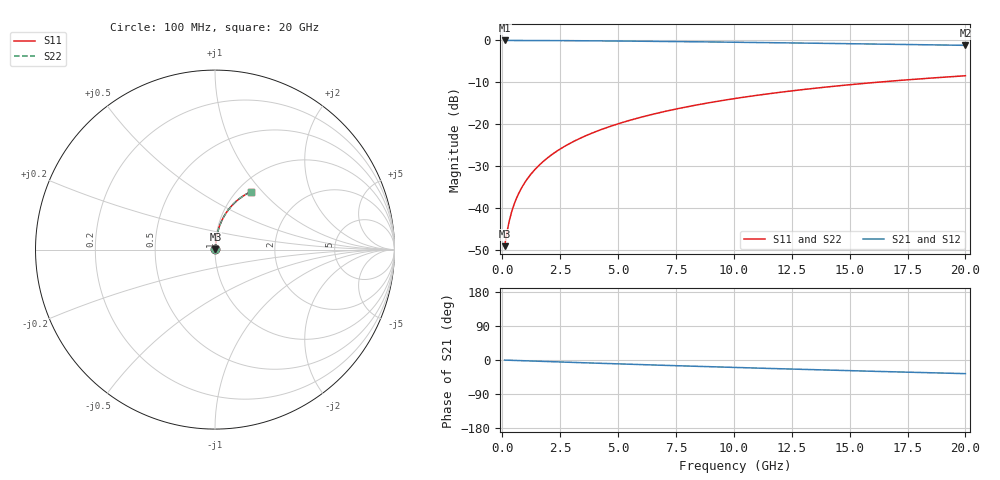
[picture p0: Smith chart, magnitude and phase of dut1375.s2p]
! Touchstone file exported from HFSS 2024.1.0
!  File:  C:/UserFiles/LocalFiles/RDL_TSV_Batchsim/temp_RDL_bottom_1375_1780371314.aedt
!  Generated:  11:37:56 AM Jun  2, 2026
!  Design:  RDL_bottom
!  Project:  temp_RDL_bottom_1375_1780371314
!  Setup:  Setup1
!  Solution:  Sweep
! Variables:
!  dtsv = 10.80580581um
!  hbump = 3um
!  htsv = 98.91um
!  ldown = 479.47um
!  lrdl = 100um
!  p = 40
!  p1 = 47.72um
!  rhole = 1um
!  t = 450um
!  tdown = 3.98um
!  trdl = 3.915915916um
!  wdown = 16.31um
!  wrdl = 20um
# GHz S MA R 50.000000
! Terminal data exported
! Port[1] = RDL1_T1
! Port[2] = RDL1_T2
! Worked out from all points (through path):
!   200 points, 100 MHz to 20 GHz, reference 50 ohm
!   highest |S21| = -0.02 dB at 100 MHz (marker M1); lowest = -1.2 dB at 20 GHz (marker M2)
!   group delay of S21, straight-line fit = 4.98 ps
!   lowest |S11| = -49.2 dB at 100 MHz (marker M3), VSWR 1.01, Z = 50.3 + j0.214 ohm
!   |S11| at or under -10 dB: start of sweep to 16.22 GHz
!   |S22| runs from -49.2 to -8.5 dB; largest |S21 - S12| = 3.6e-15
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0.1  0.003475 37.7  0.9972 -0.2  0.9972 -0.2  0.003475 37.7
! Gamma 0 0 0 0
! Port Impedance 50 0 50 0
0.2  0.005085 56.1  0.9972 -0.4  0.9972 -0.4  0.005085 56.1
0.3  0.006935 64.9  0.997 -0.6  0.997 -0.6  0.006935 64.9
0.4  0.008847 69.7  0.9969 -0.9  0.9969 -0.9  0.008847 69.7
0.5  0.01078 72.8  0.9968 -1.1  0.9968 -1.1  0.01078 72.8
0.6  0.01271 75.0  0.9967 -1.3  0.9967 -1.3  0.01271 75.0
0.8  0.01661 77.8  0.9964 -1.7  0.9964 -1.7  0.01661 77.8
1.1  0.0225 80.2  0.996 -2.3  0.996 -2.3  0.0225 80.2
1.5  0.0304 81.7  0.9953 -3.1  0.9953 -3.1  0.0304 81.7
1.8  0.03636 82.3  0.9946 -3.8  0.9946 -3.8  0.03636 82.3
2.1  0.04234 82.6  0.9939 -4.4  0.9939 -4.4  0.04234 82.6
2.7  0.05434 82.8  0.9921 -5.6  0.9921 -5.6  0.05434 82.8
3.5  0.0704 82.5  0.9892 -7.2  0.9892 -7.2  0.07039 82.5
4.2  0.08449 81.9  0.9862 -8.7  0.9862 -8.7  0.08449 81.9
5  0.1006 81.1  0.9822 -10.2  0.9822 -10.2  0.1006 81.1
5.9  0.1188 80.0  0.9773 -12.0  0.9773 -12.0  0.1188 80.0
6.8  0.137 78.9  0.9719 -13.7  0.9719 -13.7  0.137 78.9
8.4  0.1692 76.6  0.9615 -16.7  0.9615 -16.7  0.1692 76.6
10.1  0.2029 74.0  0.9496 -19.8  0.9496 -19.8  0.2029 74.0
13.4  0.266 68.8  0.9249 -25.5  0.9249 -25.5  0.2659 68.8
16.7  0.3245 63.5  0.8988 -30.9  0.8988 -30.9  0.3244 63.5
20  0.3774 58.4  0.8721 -36.0  0.8721 -36.0  0.3774 58.4
